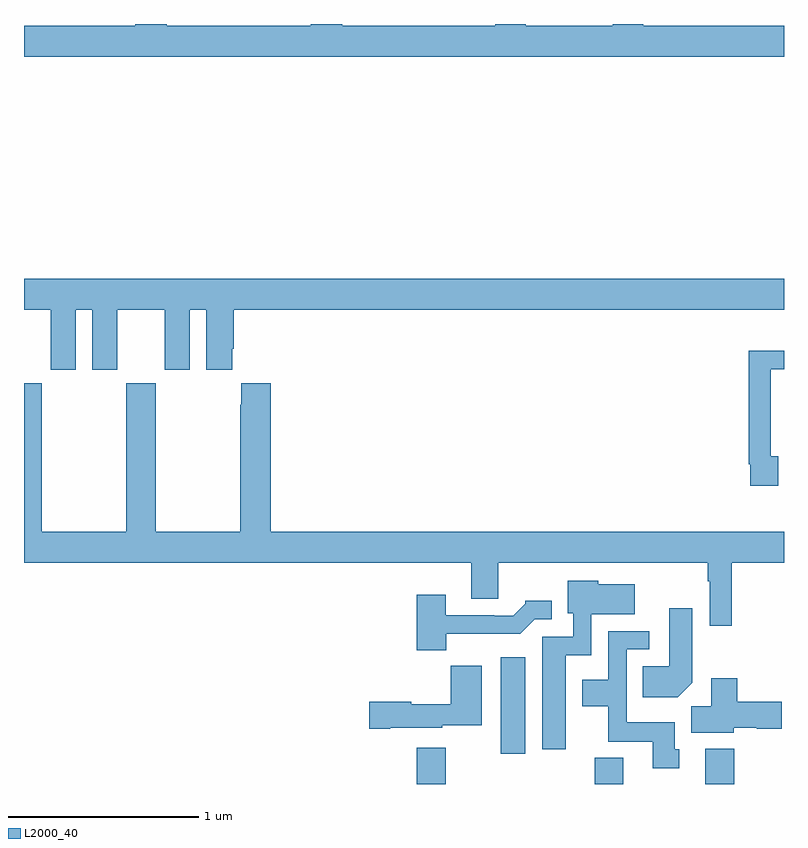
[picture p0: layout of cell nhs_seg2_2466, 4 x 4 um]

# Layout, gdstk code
import gdstk
lib = gdstk.Library(unit=1e-6, precision=1e-09)
def R(c, l, rs):  # rectangles x0, y0, x1, y1
    for r in rs: c.add(gdstk.rectangle(r[:2], r[2:], *l))
def P(c, l, *ps):  # polygons
    for p in ps: c.add(gdstk.Polygon(p, *l))
L2000_40 = (2000, 40)

nhs_seg2_2466 = lib.new_cell('nhs_seg2_2466')
R(nhs_seg2_2466, L2000_40, [(241.067,651.8,241.219,651.991), (242.003,651.8,242.155,651.937), (242.585,651.8,242.738,651.985), (241.508,651.96,241.639,652.468)])
P(nhs_seg2_2466, L2000_40, [(243,655.792),(242.258,655.792),(242.258,655.8),(242.098,655.8),(242.098,655.792),(241.641,655.792),(241.641,655.8),(241.481,655.8),(241.481,655.792),(240.674,655.792),(240.674,655.8),(240.509,655.8),(240.509,655.792),(239.75,655.792),(239.75,655.8),(239.585,655.8),(239.585,655.792),(239,655.792),(239,655.628),(243,655.628)],
  [(239,654.296),(239.141,654.296),(239.141,653.979),(239.272,653.979),(239.272,654.296),(239.36,654.296),(239.36,653.979),(239.491,653.979),(239.491,654.296),(239.741,654.296),(239.741,653.979),(239.872,653.979),(239.872,654.296),(239.96,654.296),(239.96,653.979),(240.097,653.979),(240.097,654.091),(240.104,654.091),(240.104,654.296),(243,654.296),(243,654.46),(239,654.46)],
  [(242.971,653.526),(242.931,653.526),(242.931,653.982),(243,653.982),(243,654.08),(242.815,654.08),(242.815,653.482),(242.823,653.482),(242.823,653.37),(242.971,653.37)],
  [(240.143,653.908),(240.143,653.795),(240.139,653.795),(240.139,653.128),(239.694,653.128),(239.694,653.908),(239.539,653.908),(239.539,653.128),(239.094,653.128),(239.094,653.908),(239,653.908),(239,652.964),(241.355,652.964),(241.355,652.774),(241.495,652.774),(241.495,652.964),(242.598,652.964),(242.598,652.868),(242.61,652.868),(242.61,652.632),(242.726,652.632),(242.726,652.964),(243,652.964),(243,653.128),(240.299,653.128),(240.299,653.908)],
  [(241.852,652.478),(241.986,652.478),(241.986,652.694),(242.215,652.694),(242.215,652.852),(242.022,652.852),(242.022,652.87),(241.862,652.87),(241.862,652.698),(241.89,652.698),(241.89,652.575),(241.727,652.575),(241.727,651.984),(241.852,651.984)],
  [(241.222,652.592),(241.613,652.592),(241.689,652.668),(241.777,652.668),(241.777,652.765),(241.638,652.765),(241.638,652.75),(241.574,652.686),(241.475,652.686),(241.475,652.689),(241.219,652.689),(241.219,652.795),(241.067,652.795),(241.067,652.505),(241.222,652.505)],
  [(242.518,652.334),(242.518,652.726),(242.396,652.726),(242.396,652.42),(242.257,652.42),(242.257,652.256),(242.44,652.256)],
  [(242.449,651.984),(242.425,651.984),(242.425,652.126),(242.172,652.126),(242.172,652.509),(242.29,652.509),(242.29,652.605),(242.076,652.605),(242.076,652.348),(241.937,652.348),(241.937,652.208),(242.074,652.208),(242.074,652.022),(242.309,652.022),(242.309,651.882),(242.449,651.882)],
  [(240.928,652.097),(241.2,652.097),(241.2,652.109),(241.408,652.109),(241.408,652.423),(241.246,652.423),(241.246,652.219),(241.038,652.219),(241.038,652.232),(240.816,652.232),(240.816,652.09),(240.928,652.09)],
  [(242.736,652.097),(242.856,652.097),(242.856,652.09),(242.989,652.09),(242.989,652.232),(242.753,652.232),(242.753,652.357),(242.618,652.357),(242.618,652.208),(242.513,652.208),(242.513,652.07),(242.736,652.07)])

lib.write_gds('nhs_seg2_2466.gds')
